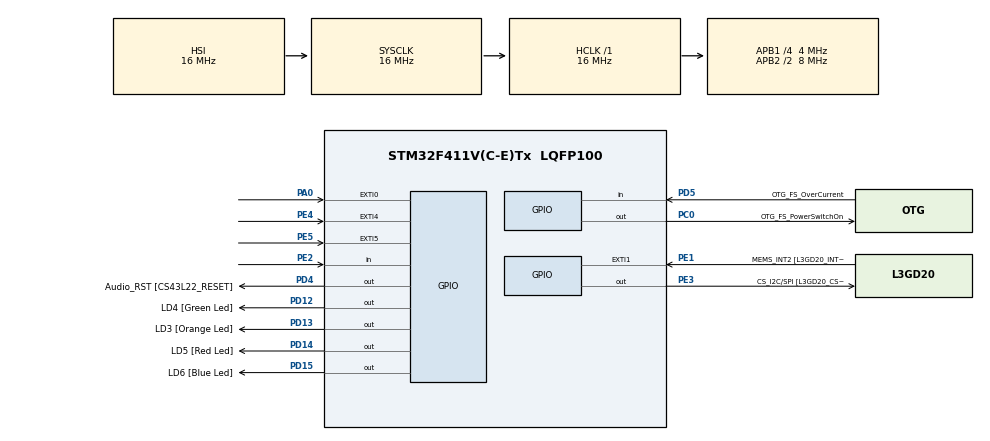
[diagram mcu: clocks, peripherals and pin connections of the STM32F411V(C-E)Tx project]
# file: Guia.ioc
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FREERTOS.Tasks01=defaultTask,24,128,StartDefaultTask,Default,NULL,Dynamic,NULL,NULL
Mcu.Family=STM32F4
Mcu.Name=STM32F411V(C-E)Tx
Mcu.Package=LQFP100
NVIC.EXTI0_IRQn=true\:5\:0\:false\:false\:true\:true\:true\:true\:true
NVIC.PriorityGroup=NVIC_PRIORITYGROUP_4
NVIC.TIM5_IRQn=true\:15\:0\:false\:false\:true\:false\:false\:true\:true
NVIC.TimeBase=TIM5_IRQn
NVIC.TimeBaseIP=TIM5
PA0-WKUP.Signal=GPXTI0
PA10.GPIO_Label=OTG_FS_ID
PA10.Signal=USB_OTG_FS_ID
PA11.GPIO_Label=OTG_FS_DM
PA11.Signal=USB_OTG_FS_DM
PA12.GPIO_Label=OTG_FS_DP
PA12.Signal=USB_OTG_FS_DP
PA13.GPIO_Label=SWDIO
PA13.Mode=Serial_Wire
PA13.Signal=SYS_JTMS-SWDIO
PA14.GPIO_Label=SWCLK
PA14.Mode=Serial_Wire
PA14.Signal=SYS_JTCK-SWCLK
PA4.GPIO_Label=I2S3_WS [CS43L22_LRCK]
PA4.GPIO_Mode=GPIO_MODE_AF_PP
PA4.GPIO_PuPd=GPIO_NOPULL
PA4.GPIO_Speed=GPIO_SPEED_FREQ_LOW
PA4.Signal=I2S3_WS
PA5.GPIO_Label=SPI1_SCK [L3GD20_SC/SPC]
PA5.Signal=SPI1_SCK
PA6.GPIO_Label=SPI1_MISO [L3GD20_AS0/SDO]
PA6.Signal=SPI1_MISO
PA7.GPIO_Label=SPI1_MOSI [L3GD20_SDA/SDI/SDO]
PA7.Signal=SPI1_MOSI
PA9.GPIO_Label=VBUS_FS
PA9.Signal=USB_OTG_FS_VBUS
PB10.GPIO_Label=CLK_IN [MP45DT02_CLK]
PB10.Signal=I2S2_CK
PB12.Signal=I2S2_WS
PB3.GPIO_Label=SWO
PB3.Signal=SYS_JTDO-SWO
PB6.GPIO_Label=Audio_SCL [CS43L22_SCL]
PB6.GPIO_Mode=GPIO_MODE_AF_OD
PB6.GPIO_PuPd=GPIO_NOPULL
PB6.GPIO_Speed=GPIO_SPEED_FREQ_LOW
PB6.Signal=I2C1_SCL
PB9.GPIO_Label=Audio_SDA [CS43L22_SDA]
PB9.GPIO_Mode=GPIO_MODE_AF_OD
PB9.GPIO_PuPd=GPIO_NOPULL
PB9.GPIO_Speed=GPIO_SPEED_FREQ_LOW
PB9.Signal=I2C1_SDA
PC0.GPIO_Label=OTG_FS_PowerSwitchOn
PC0.PinState=GPIO_PIN_SET
PC0.Signal=GPIO_Output
PC10.GPIO_Label=I2S3_SCK [CS43L22_SCLK]
PC10.GPIO_Mode=GPIO_MODE_AF_PP
PC10.GPIO_PuPd=GPIO_NOPULL
PC10.GPIO_Speed=GPIO_SPEED_FREQ_LOW
PC10.Signal=I2S3_CK
PC12.GPIO_Label=I2S3_SD [CS43L22_SDIN]
PC12.GPIO_Mode=GPIO_MODE_AF_PP
PC12.GPIO_PuPd=GPIO_NOPULL
PC12.GPIO_Speed=GPIO_SPEED_FREQ_LOW
PC12.Signal=I2S3_SD
PC14-OSC32_IN.GPIO_Label=PC14-OSC32_IN
PC14-OSC32_IN.Signal=RCC_OSC32_IN
PC15-OSC32_OUT.GPIO_Label=PC15-OSC32_OUT
PC15-OSC32_OUT.Signal=RCC_OSC32_OUT
PC3.GPIO_Label=PDM_OUT [MP45DT02_DOUT]
PC3.Signal=I2S2_SD
PC7.GPIO_Label=I2S3_MCK [CS43L22_MCLK]
PC7.GPIO_Mode=GPIO_MODE_AF_PP
PC7.GPIO_PuPd=GPIO_NOPULL
PC7.GPIO_Speed=GPIO_SPEED_FREQ_LOW
PC7.Signal=I2S3_MCK
PD12.GPIO_Label=LD4 [Green Led]
PD12.GPIO_PuPd=GPIO_NOPULL
PD12.GPIO_Speed=GPIO_SPEED_FREQ_LOW
PD12.Signal=GPIO_Output
PD13.GPIO_Label=LD3 [Orange Led]
PD13.GPIO_PuPd=GPIO_NOPULL
PD13.GPIO_Speed=GPIO_SPEED_FREQ_LOW
PD13.Signal=GPIO_Output
PD14.GPIO_Label=LD5 [Red Led]
PD14.GPIO_PuPd=GPIO_NOPULL
PD14.GPIO_Speed=GPIO_SPEED_FREQ_LOW
PD14.Signal=GPIO_Output
PD15.GPIO_Label=LD6 [Blue Led]
PD15.GPIO_PuPd=GPIO_NOPULL
PD15.GPIO_Speed=GPIO_SPEED_FREQ_LOW
PD15.Signal=GPIO_Output
PD4.GPIO_Label=Audio_RST [CS43L22_RESET]
PD4.Signal=GPIO_Output
PD5.GPIO_Label=OTG_FS_OverCurrent
PD5.Signal=GPIO_Input
PE1.GPIO_Label=MEMS_INT2 [L3GD20_INT2]
PE1.GPIO_ModeDefaultEXTI=GPIO_MODE_EVT_RISING
PE1.Signal=GPXTI1
PE2.Signal=GPIO_Input
PE3.GPIO_Label=CS_I2C/SPI [L3GD20_CS_I2C/SPI]
PE3.Signal=GPIO_Output
PE4.GPIO_ModeDefaultEXTI=GPIO_MODE_EVT_RISING
PE4.Signal=GPXTI4
PE5.GPIO_ModeDefaultEXTI=GPIO_MODE_EVT_RISING
PE5.Signal=GPXTI5
PH0\ -\ OSC_IN.GPIO_Label=PH0-OSC_IN
PH0\ -\ OSC_IN.Signal=RCC_OSC_IN
PH1\ -\ OSC_OUT.GPIO_Label=PH1-OSC_OUT
PH1\ -\ OSC_OUT.Signal=RCC_OSC_OUT
ProjectManager.HeapSize=0x200
ProjectManager.StackSize=0x400
ProjectManager.TargetToolchain=STM32CubeIDE
RCC.48MHZClocksFreq_Value=48000000
RCC.AHBFreq_Value=16000000
RCC.APB1CLKDivider=RCC_HCLK_DIV4
RCC.APB1Freq_Value=4000000
RCC.APB1TimFreq_Value=8000000
RCC.APB2CLKDivider=RCC_HCLK_DIV2
RCC.APB2Freq_Value=8000000
RCC.APB2TimFreq_Value=16000000
RCC.CortexFreq_Value=16000000
RCC.HCLKFreq_Value=16000000
RCC.HSE_VALUE=8000000
RCC.HSI_VALUE=16000000
RCC.LSE_VALUE=32768
RCC.PLLI2SM=5
RCC.PLLI2SN=200
RCC.PLLM=8
RCC.PLLP=RCC_PLLP_DIV4
RCC.PLLQ=8
RCC.SYSCLKFreq_VALUE=16000000
RCC.VCOOutputFreq_Value=384000000
VP_FREERTOS_VS_CMSIS_V2.Mode=CMSIS_V2
VP_SYS_VS_tim5.Mode=TIM5
board=STM32F411E-DISCO

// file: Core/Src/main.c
/* USER CODE BEGIN Header */
/**
  ******************************************************************************
  * @file           : main.c
  * @brief          : Main program body
  ******************************************************************************
  * @attention
  *
  * Copyright (c) 2026 STMicroelectronics.
  * All rights reserved.
  *
  * This software is licensed under terms that can be found in the LICENSE file
  * in the root directory of this software component.
  * If no LICENSE file comes with this software, it is provided AS-IS.
  *
  ******************************************************************************
  */
/* USER CODE END Header */
#include "main.h"
#include "cmsis_os.h"

/* USER CODE BEGIN Includes */
#include "FreeRTOS.h"
#include "task.h"
#include "semphr.h"
/* USER CODE END Includes */

/* Definitions for defaultTask */
osThreadId_t defaultTaskHandle;
const osThreadAttr_t defaultTask_attributes = {
  .name = "defaultTask",
  .stack_size = 128 * 4,
  .priority = (osPriority_t) osPriorityNormal,
};
/* USER CODE BEGIN PV */
SemaphoreHandle_t xButtonSemaphore;
TaskHandle_t handleTareaA;
BaseType_t AIsSuspended = pdFALSE;
/* USER CODE END PV */

void SystemClock_Config(void);
static void MX_GPIO_Init(void);
void StartDefaultTask(void *argument);

/* USER CODE BEGIN PFP */
void vTareaA(void *pvParameters);
void vTareaB(void *pvParameters);
/* USER CODE END PFP */

int main(void)
{

  /* MCU Configuration--------------------------------------------------------*/

  /* Reset of all peripherals, Initializes the Flash interface and the Systick. */
  HAL_Init();

  /* Configure the system clock */
  SystemClock_Config();

  /* Initialize all configured peripherals */
  MX_GPIO_Init();

  /* Init scheduler */
//  osKernelInitialize();

  /* Create the thread(s) */
  /* creation of defaultTask */
  defaultTaskHandle = osThreadNew(StartDefaultTask, NULL, &defaultTask_attributes);

  /* Start scheduler */
//  osKernelStart();

  /* We should never get here as control is now taken by the scheduler */

  /* Infinite loop */
  /* USER CODE BEGIN WHILE */

  xTaskCreate(vTareaA, "Boton", 128, NULL, 2, NULL);
  xTaskCreate(vTareaB, "Boton", 128, NULL, 1, NULL);

  // Con polling
//  xTaskCreate(vTareaA, "Boton", 128, NULL, 1, &handleTareaA);
//  xTaskCreate(vTareaBpoller, "Boton", 128, (void*)handleTareaA, 1, NULL);

  vTaskStartScheduler();
  while (1)
  {
    /* USER CODE END WHILE */

  }
}

void SystemClock_Config(void)
{
  RCC_OscInitTypeDef RCC_OscInitStruct = {0};
  RCC_ClkInitTypeDef RCC_ClkInitStruct = {0};

  /** Configure the main internal regulator output voltage
  */
  __HAL_RCC_PWR_CLK_ENABLE();
  __HAL_PWR_VOLTAGESCALING_CONFIG(PWR_REGULATOR_VOLTAGE_SCALE1);

  /** Initializes the RCC Oscillators according to the specified parameters
  * in the RCC_OscInitTypeDef structure.
  */
  RCC_OscInitStruct.OscillatorType = RCC_OSCILLATORTYPE_HSI;
  RCC_OscInitStruct.HSIState = RCC_HSI_ON;
  RCC_OscInitStruct.HSICalibrationValue = RCC_HSICALIBRATION_DEFAULT;
  RCC_OscInitStruct.PLL.PLLState = RCC_PLL_NONE;
  if (HAL_RCC_OscConfig(&RCC_OscInitStruct) != HAL_OK)
  {
    Error_Handler();
  }

  /** Initializes the CPU, AHB and APB buses clocks
  */
  RCC_ClkInitStruct.ClockType = RCC_CLOCKTYPE_HCLK|RCC_CLOCKTYPE_SYSCLK
                              |RCC_CLOCKTYPE_PCLK1|RCC_CLOCKTYPE_PCLK2;
  RCC_ClkInitStruct.SYSCLKSource = RCC_SYSCLKSOURCE_HSI;
  RCC_ClkInitStruct.AHBCLKDivider = RCC_SYSCLK_DIV1;
  RCC_ClkInitStruct.APB1CLKDivider = RCC_HCLK_DIV4;
  RCC_ClkInitStruct.APB2CLKDivider = RCC_HCLK_DIV2;

  if (HAL_RCC_ClockConfig(&RCC_ClkInitStruct, FLASH_LATENCY_0) != HAL_OK)
  {
    Error_Handler();
  }
}

static void MX_GPIO_Init(void)
{
  GPIO_InitTypeDef GPIO_InitStruct = {0};

  /* GPIO Ports Clock Enable */
  __HAL_RCC_GPIOE_CLK_ENABLE();
  __HAL_RCC_GPIOC_CLK_ENABLE();
  __HAL_RCC_GPIOH_CLK_ENABLE();
  __HAL_RCC_GPIOA_CLK_ENABLE();
  __HAL_RCC_GPIOB_CLK_ENABLE();
  __HAL_RCC_GPIOD_CLK_ENABLE();

  /*Configure GPIO pin Output Level */
  HAL_GPIO_WritePin(CS_I2C_SPI_GPIO_Port, CS_I2C_SPI_Pin, GPIO_PIN_RESET);

  /*Configure GPIO pin Output Level */
  HAL_GPIO_WritePin(OTG_FS_PowerSwitchOn_GPIO_Port, OTG_FS_PowerSwitchOn_Pin, GPIO_PIN_SET);

  /*Configure GPIO pin Output Level */
  HAL_GPIO_WritePin(GPIOD, LD4_Pin|LD3_Pin|LD5_Pin|LD6_Pin
                          |Audio_RST_Pin, GPIO_PIN_RESET);

  /*Configure GPIO pin : PE2 */
  GPIO_InitStruct.Pin = GPIO_PIN_2;
  GPIO_InitStruct.Mode = GPIO_MODE_INPUT;
  GPIO_InitStruct.Pull = GPIO_NOPULL;
  HAL_GPIO_Init(GPIOE, &GPIO_InitStruct);

  /*Configure GPIO pin : CS_I2C_SPI_Pin */
  GPIO_InitStruct.Pin = CS_I2C_SPI_Pin;
  GPIO_InitStruct.Mode = GPIO_MODE_OUTPUT_PP;
  GPIO_InitStruct.Pull = GPIO_NOPULL;
  GPIO_InitStruct.Speed = GPIO_SPEED_FREQ_LOW;
  HAL_GPIO_Init(CS_I2C_SPI_GPIO_Port, &GPIO_InitStruct);

  /*Configure GPIO pins : PE4 PE5 MEMS_INT2_Pin */
  GPIO_InitStruct.Pin = GPIO_PIN_4|GPIO_PIN_5|MEMS_INT2_Pin;
  GPIO_InitStruct.Mode = GPIO_MODE_EVT_RISING;
  GPIO_InitStruct.Pull = GPIO_NOPULL;
  HAL_GPIO_Init(GPIOE, &GPIO_InitStruct);

  /*Configure GPIO pin : OTG_FS_PowerSwitchOn_Pin */
  GPIO_InitStruct.Pin = OTG_FS_PowerSwitchOn_Pin;
  GPIO_InitStruct.Mode = GPIO_MODE_OUTPUT_PP;
  GPIO_InitStruct.Pull = GPIO_NOPULL;
  GPIO_InitStruct.Speed = GPIO_SPEED_FREQ_LOW;
  HAL_GPIO_Init(OTG_FS_PowerSwitchOn_GPIO_Port, &GPIO_InitStruct);

  /*Configure GPIO pin : PDM_OUT_Pin */
  GPIO_InitStruct.Pin = PDM_OUT_Pin;
  GPIO_InitStruct.Mode = GPIO_MODE_AF_PP;
  GPIO_InitStruct.Pull = GPIO_NOPULL;
  GPIO_InitStruct.Speed = GPIO_SPEED_FREQ_LOW;
  GPIO_InitStruct.Alternate = GPIO_AF5_SPI2;
  HAL_GPIO_Init(PDM_OUT_GPIO_Port, &GPIO_InitStruct);

  /*Configure GPIO pin : PA0 */
  GPIO_InitStruct.Pin = GPIO_PIN_0;
  GPIO_InitStruct.Mode = GPIO_MODE_IT_RISING;
  GPIO_InitStruct.Pull = GPIO_NOPULL;
  HAL_GPIO_Init(GPIOA, &GPIO_InitStruct);

  /*Configure GPIO pin : I2S3_WS_Pin */
  GPIO_InitStruct.Pin = I2S3_WS_Pin;
  GPIO_InitStruct.Mode = GPIO_MODE_AF_PP;
  GPIO_InitStruct.Pull = GPIO_NOPULL;
  GPIO_InitStruct.Speed = GPIO_SPEED_FREQ_LOW;
  GPIO_InitStruct.Alternate = GPIO_AF6_SPI3;
  HAL_GPIO_Init(I2S3_WS_GPIO_Port, &GPIO_InitStruct);

  /*Configure GPIO pins : SPI1_SCK_Pin SPI1_MISO_Pin SPI1_MOSI_Pin */
  GPIO_InitStruct.Pin = SPI1_SCK_Pin|SPI1_MISO_Pin|SPI1_MOSI_Pin;
  GPIO_InitStruct.Mode = GPIO_MODE_AF_PP;
  GPIO_InitStruct.Pull = GPIO_NOPULL;
  GPIO_InitStruct.Speed = GPIO_SPEED_FREQ_VERY_HIGH;
  GPIO_InitStruct.Alternate = GPIO_AF5_SPI1;
  HAL_GPIO_Init(GPIOA, &GPIO_InitStruct);

  /*Configure GPIO pins : CLK_IN_Pin PB12 */
  GPIO_InitStruct.Pin = CLK_IN_Pin|GPIO_PIN_12;
  GPIO_InitStruct.Mode = GPIO_MODE_AF_PP;
  GPIO_InitStruct.Pull = GPIO_NOPULL;
  GPIO_InitStruct.Speed = GPIO_SPEED_FREQ_LOW;
  GPIO_InitStruct.Alternate = GPIO_AF5_SPI2;
  HAL_GPIO_Init(GPIOB, &GPIO_InitStruct);

  /*Configure GPIO pins : LD4_Pin LD3_Pin LD5_Pin LD6_Pin
                           Audio_RST_Pin */
  GPIO_InitStruct.Pin = LD4_Pin|LD3_Pin|LD5_Pin|LD6_Pin
                          |Audio_RST_Pin;
  GPIO_InitStruct.Mode = GPIO_MODE_OUTPUT_PP;
  GPIO_InitStruct.Pull = GPIO_NOPULL;
  GPIO_InitStruct.Speed = GPIO_SPEED_FREQ_LOW;
  HAL_GPIO_Init(GPIOD, &GPIO_InitStruct);

  /*Configure GPIO pins : I2S3_MCK_Pin I2S3_SCK_Pin I2S3_SD_Pin */
  GPIO_InitStruct.Pin = I2S3_MCK_Pin|I2S3_SCK_Pin|I2S3_SD_Pin;
  GPIO_InitStruct.Mode = GPIO_MODE_AF_PP;
  GPIO_InitStruct.Pull = GPIO_NOPULL;
  GPIO_InitStruct.Speed = GPIO_SPEED_FREQ_LOW;
  GPIO_InitStruct.Alternate = GPIO_AF6_SPI3;
  HAL_GPIO_Init(GPIOC, &GPIO_InitStruct);

  /*Configure GPIO pin : VBUS_FS_Pin */
  GPIO_InitStruct.Pin = VBUS_FS_Pin;
  GPIO_InitStruct.Mode = GPIO_MODE_INPUT;
  GPIO_InitStruct.Pull = GPIO_NOPULL;
  HAL_GPIO_Init(VBUS_FS_GPIO_Port, &GPIO_InitStruct);

  /*Configure GPIO pins : OTG_FS_ID_Pin OTG_FS_DM_Pin OTG_FS_DP_Pin */
  GPIO_InitStruct.Pin = OTG_FS_ID_Pin|OTG_FS_DM_Pin|OTG_FS_DP_Pin;
  GPIO_InitStruct.Mode = GPIO_MODE_AF_PP;
  GPIO_InitStruct.Pull = GPIO_NOPULL;
  GPIO_InitStruct.Speed = GPIO_SPEED_FREQ_VERY_HIGH;
  GPIO_InitStruct.Alternate = GPIO_AF10_OTG_FS;
  HAL_GPIO_Init(GPIOA, &GPIO_InitStruct);

  /*Configure GPIO pin : OTG_FS_OverCurrent_Pin */
  GPIO_InitStruct.Pin = OTG_FS_OverCurrent_Pin;
  GPIO_InitStruct.Mode = GPIO_MODE_INPUT;
  GPIO_InitStruct.Pull = GPIO_NOPULL;
  HAL_GPIO_Init(OTG_FS_OverCurrent_GPIO_Port, &GPIO_InitStruct);

  /*Configure GPIO pins : Audio_SCL_Pin Audio_SDA_Pin */
  GPIO_InitStruct.Pin = Audio_SCL_Pin|Audio_SDA_Pin;
  GPIO_InitStruct.Mode = GPIO_MODE_AF_OD;
  GPIO_InitStruct.Pull = GPIO_NOPULL;
  GPIO_InitStruct.Speed = GPIO_SPEED_FREQ_LOW;
  GPIO_InitStruct.Alternate = GPIO_AF4_I2C1;
  HAL_GPIO_Init(GPIOB, &GPIO_InitStruct);

  /* EXTI interrupt init*/
  HAL_NVIC_SetPriority(EXTI0_IRQn, 5, 0);
  HAL_NVIC_EnableIRQ(EXTI0_IRQn);

}

/* USER CODE BEGIN 4 */
void HAL_GPIO_EXTI_Callback(uint16_t GPIO_Pin){
  static TickType_t lastTick = 0;
  BaseType_t xHigherPriorityTaskWoken = pdFALSE;

  if (GPIO_Pin == GPIO_PIN_0){
      TickType_t now = xTaskGetTickCountFromISR();

      if ((now - lastTick) > pdMS_TO_TICKS(200)){
          xSemaphoreGiveFromISR(xButtonSemaphore, &xHigherPriorityTaskWoken);
          lastTick = now;
      }

      portYIELD_FROM_ISR(xHigherPriorityTaskWoken);
  }
}
void vTareaA(void *pvParameters){

  TickType_t start = xTaskGetTickCount();
  const TickType_t duracion = pdMS_TO_TICKS(10000);

  while ((xTaskGetTickCount() - start) < duracion){
      HAL_GPIO_TogglePin(GPIOD, LD3_Pin);
      HAL_Delay(50);
  }

  // Estado final: solo LD4 prendido
  HAL_GPIO_WritePin(GPIOD, LD4_Pin, GPIO_PIN_SET);

  vTaskDelete(NULL);
}
void vTareaB(void *pvParameters){

  const TickType_t periodo = pdMS_TO_TICKS(800); // lento

  while (1){
      HAL_GPIO_WritePin(GPIOD, LD6_Pin, GPIO_PIN_SET);
      vTaskDelay(periodo);

      HAL_GPIO_WritePin(GPIOD, LD6_Pin, GPIO_PIN_RESET);
      vTaskDelay(periodo);
  }
}

/* USER CODE END 4 */

void StartDefaultTask(void *argument)
{
  for(;;)
  {
    osDelay(1);
  }
}

void HAL_TIM_PeriodElapsedCallback(TIM_HandleTypeDef *htim)
{
  if (htim->Instance == TIM5)
  {
    HAL_IncTick();
  }
}

void Error_Handler(void)
{
  __disable_irq();
  while (1)
  {
  }
}
